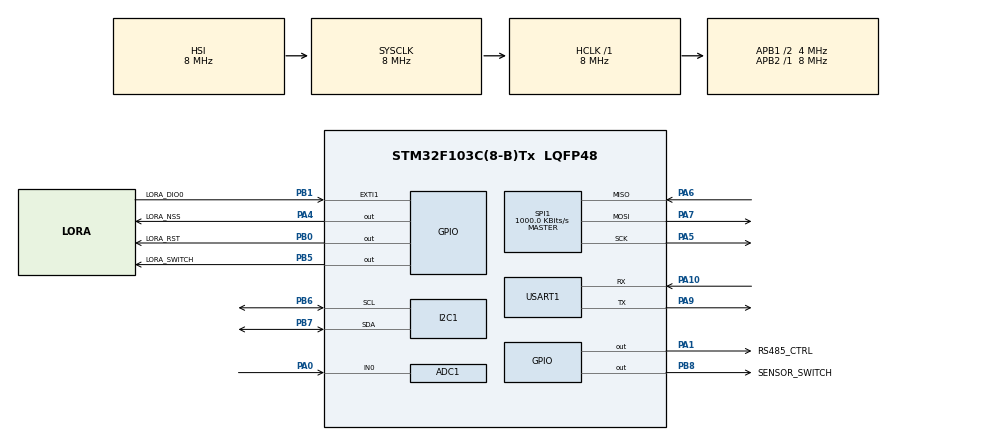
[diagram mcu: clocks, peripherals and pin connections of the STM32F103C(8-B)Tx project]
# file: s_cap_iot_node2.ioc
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ADC1.Channel-0\#ChannelRegularConversion=ADC_CHANNEL_0
ADC1.EnableAnalogWatchDog=false
ADC1.NbrOfConversion=1
ADC1.NbrOfConversionFlag=1
ADC1.Rank-0\#ChannelRegularConversion=1
ADC1.SamplingTime-0\#ChannelRegularConversion=ADC_SAMPLETIME_239CYCLES_5
ADC1.master=1
Mcu.Family=STM32F1
Mcu.Name=STM32F103C(8-B)Tx
Mcu.Package=LQFP48
NVIC.EXTI1_IRQn=true\:0\:0\:false\:false\:true\:true\:true\:true
NVIC.PriorityGroup=NVIC_PRIORITYGROUP_4
NVIC.RTC_Alarm_IRQn=true\:0\:0\:false\:false\:true\:true\:true\:true
PA0-WKUP.Signal=ADCx_IN0
PA1.GPIO_Label=RS485_CTRL
PA1.Signal=GPIO_Output
PA10.Mode=Asynchronous
PA10.Signal=USART1_RX
PA13.Mode=Serial_Wire
PA13.Signal=SYS_JTMS-SWDIO
PA14.Mode=Serial_Wire
PA14.Signal=SYS_JTCK-SWCLK
PA4.GPIO_Label=LORA_NSS
PA4.PinState=GPIO_PIN_SET
PA4.Signal=GPIO_Output
PA5.Mode=Full_Duplex_Master
PA5.Signal=SPI1_SCK
PA6.Mode=Full_Duplex_Master
PA6.Signal=SPI1_MISO
PA7.Mode=Full_Duplex_Master
PA7.Signal=SPI1_MOSI
PA9.Mode=Asynchronous
PA9.Signal=USART1_TX
PB0.GPIO_Label=LORA_RST
PB0.PinState=GPIO_PIN_SET
PB0.Signal=GPIO_Output
PB1.GPIO_Label=LORA_DIO0
PB1.Signal=GPXTI1
PB5.GPIO_Label=LORA_SWITCH
PB5.PinState=GPIO_PIN_SET
PB5.Signal=GPIO_Output
PB6.Mode=I2C
PB6.Signal=I2C1_SCL
PB7.Mode=I2C
PB7.Signal=I2C1_SDA
PB8.GPIO_Label=SENSOR_SWITCH
PB8.PinState=GPIO_PIN_SET
PB8.Signal=GPIO_Output
PD0-OSC_IN.Mode=HSE-External-Oscillator
PD0-OSC_IN.Signal=RCC_OSC_IN
PD1-OSC_OUT.Mode=HSE-External-Oscillator
PD1-OSC_OUT.Signal=RCC_OSC_OUT
ProjectManager.HeapSize=0x200
ProjectManager.StackSize=0x400
ProjectManager.TargetToolchain=STM32CubeIDE
RCC.ADCPresc=RCC_ADCPCLK2_DIV6
RCC.AHBFreq_Value=8000000
RCC.APB1CLKDivider=RCC_HCLK_DIV2
RCC.APB1Freq_Value=4000000
RCC.APB1TimFreq_Value=8000000
RCC.APB2Freq_Value=8000000
RCC.APB2TimFreq_Value=8000000
RCC.HCLKFreq_Value=8000000
RCC.PLLMUL=RCC_PLL_MUL9
RCC.PLLSourceVirtual=RCC_PLLSOURCE_HSE
RCC.SYSCLKFreq_VALUE=8000000
RCC.USBFreq_Value=72000000
RTC.AsynchPrediv=40000
RTC.AutoPrediv=0
SH.ADCx_IN0.0=ADC1_IN0,IN0
SPI1.BaudRatePrescaler=SPI_BAUDRATEPRESCALER_8
SPI1.CalculateBaudRate=1000.0 KBits/s
SPI1.Direction=SPI_DIRECTION_2LINES
SPI1.Mode=SPI_MODE_MASTER
SPI1.VirtualType=VM_MASTER
USART1.VirtualMode=VM_ASYNC
VP_RTC_VS_RTC_Activate.Mode=RTC_Enabled
VP_RTC_VS_RTC_Calendar.Mode=RTC_Calendar
board=custom

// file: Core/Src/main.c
/* USER CODE BEGIN Header */
/**
 ******************************************************************************
 * @file           : main.c
 * @brief          : Main program body
 ******************************************************************************
 * @attention
 *
 * Copyright (c) 2026 STMicroelectronics.
 * All rights reserved.
 *
 * This software is licensed under terms that can be found in the LICENSE file
 * in the root directory of this software component.
 * If no LICENSE file comes with this software, it is provided AS-IS.
 *
 ******************************************************************************
 */
/* USER CODE END Header */
#include "main.h"
#include "adc.h"
#include "i2c.h"
#include "rtc.h"
#include "spi.h"
#include "usart.h"
#include "gpio.h"

/* USER CODE BEGIN Includes */

#include "battery_monitor.h"
#include "lora_config.h"
#include "power_management.h"
//#include "rs485_config.h"
#include "sht30_config.h"
#include "utils.h"
#include <stddef.h>
#include <stdio.h>
#include <string.h>

/* USER CODE END Includes */

/* USER CODE BEGIN PTD */

#define LORA_MAX_PAYLOAD 48
#define SENSOR_TYPE_SOIL 0x01
#define SENSOR_TYPE_ENV 0x02

/* -------------------------------------------------------------------------- */
/*                          General LoRa Packet Format                        */
/* -------------------------------------------------------------------------- */
typedef struct __attribute__((packed)) {
  uint32_t device_id;
  uint8_t sensor_type;
  uint8_t payload_length;
  uint8_t payload[LORA_MAX_PAYLOAD];

} lora_packet_t;

/* -------------------------------------------------------------------------- */
/*                        Soil Sensor Payload Structure                       */
/* -------------------------------------------------------------------------- */
typedef struct __attribute__((packed)) {
  uint16_t humidity;
  int16_t temperature;
  uint16_t ec;
} soil_payload_t;

/* -------------------------------------------------------------------------- */
/* Environment Sensor Payload Structure                    */
/* -------------------------------------------------------------------------- */
typedef struct __attribute__((packed)) {
  uint16_t humidity;
  int16_t temperature;
  uint16_t cap_voltage;
} env_payload_t;
/* USER CODE END PTD */

void SystemClock_Config(void);

int main(void)
{

  /* MCU Configuration--------------------------------------------------------*/

  /* Reset of all peripherals, Initializes the Flash interface and the Systick. */
  HAL_Init();

  /* Configure the system clock */
  SystemClock_Config();

  /* Initialize all configured peripherals */
  MX_GPIO_Init();
  MX_SPI1_Init();
  MX_RTC_Init();
  MX_USART1_UART_Init();
  MX_I2C1_Init();
  MX_ADC1_Init();

  /* USER CODE BEGIN 2 */
  HAL_ADCEx_Calibration_Start(&hadc1);   // ← add this line

  printf("\r\n\r\n=== System Booting ===\r\n");
  led_off();
  /* 1. Check Wake Reason */
  if (__HAL_PWR_GET_FLAG(PWR_FLAG_WU) != RESET) {
    printf("Reason: Woke up from STANDBY (Alarm)\r\n");
    __HAL_PWR_CLEAR_FLAG(PWR_FLAG_WU);
  } else {
    printf("Reason: Cold Boot (Power On)\r\n");
  }

  /* 2. Check the Bank Account (ADC) FIRST */
  float current_voltage = Battery_GetVoltage(&hadc1);
  printf("Capacitor Voltage: %.2f V\r\n", current_voltage);

  /* 3. The Decision Logic */
  if (current_voltage < 3.5f) {
    /* === BRANCH A: STARVING (SNOOZE) === */
    printf("Status: Low Energy. Aborting transmission.\r\n");
    printf("Snoozing for 900 seconds to wait for solar charge...\r\n");

    led_toggle(50, 5);           // Fast warning blink
    Power_DeepSleep(&hrtc, 900); // Short snooze (15 mins)
  } else {
    /* === BRANCH B: HEALTHY (WORK) === */
    printf("Status: Energy Good. Starting Active Cycle.\r\n");

    /* NOW it is safe to turn on peripherals */
    uint16_t lora_status = lora_init();
    printf("Lora Ststus returned value: %d/n", lora_status);
    SHT30_Init();

    if (lora_status == LORA_OK) {
      printf("LoRa Boot Done!\r\n");
      SHT30_SensorReading_t currentReading;
      if (SHT30_ReadSensor(&currentReading) == HAL_OK) {
        lora_packet_t tx_packet = {0};
        tx_packet.device_id = Get_STM32_UniqueID();
        tx_packet.sensor_type = SENSOR_TYPE_ENV;
        env_payload_t sensor_data;
        sensor_data.temperature = currentReading.temperature;
        sensor_data.humidity = currentReading.humidity;
        sensor_data.cap_voltage = (uint16_t)(current_voltage * 100.0f);

        tx_packet.payload_length = sizeof(env_payload_t);
        memcpy(tx_packet.payload, &sensor_data, tx_packet.payload_length);

        /* -------------------------------------------------------------- */
        /* Calculate Actual Transmission Size               */
        /* -------------------------------------------------------------- */
        uint8_t tx_size =
            offsetof(lora_packet_t, payload) + tx_packet.payload_length;

        /* -------------------------------------------------------------- */
        /* Send via LoRa                            */
        /* -------------------------------------------------------------- */
        uint8_t lora_status = lora_send((uint8_t *)&tx_packet, tx_size, 1000);
        //            			uint8_t tx_status = lora_send((uint8_t
        //            *)&tx_packet, tx_size, 1000);
        lora_sleep();                                   // SX1278 → SLEEP (0.2µA)
        switch_operation(TARGET_LORA, SWITCH_OFF);      // Cut LoRa power rail

        switch_operation(TARGET_SENSOR, SWITCH_OFF);
        /* -------------------------------------------------------------- */
        /* Transmission Indication                     */
        /* -------------------------------------------------------------- */
        if (lora_status == 1) {
          printf("\r\n========== LoRa Packet Sent ==========\r\n");
          printf("Device ID     : %lu\r\n", tx_packet.device_id);
          printf("Sensor Type   : %u\r\n", tx_packet.sensor_type);
          printf("Payload Length: %u\r\n", tx_packet.payload_length);

          printf("\r\n--- Sensor Data ---\r\n");
          // Divide by 100 for display formatting
          printf("Temperature : %.2f C\r\n",
                 (float)sensor_data.temperature / 100.0f);
          printf("Humidity    : %.2f %%\r\n",
                 (float)sensor_data.humidity / 100.0f);
          printf("Cap Voltage : %.2f V\r\n",
                 (float)sensor_data.cap_voltage / 100.0f);
          printf("\r\n======================================\r\n\r\n");

          led_off();
          led_toggle(50, 2);
        } else {
          printf("The lora return value is: %d\n", lora_status);
          printf("\r\n[ERROR] LoRa TX Timeout! (TxDone was never set by the "
                 "module)\r\n\r\n");
        }
      } else {
        /* Sensor Read Failed */
        printf("Sensor Read Failed");
        //                        led_on();
      }

      printf("Transmission complete.\r\n");
    } else {
      printf("LoRa Boot Failed!\r\n");
    }

    printf("Active cycle finished. Deep sleeping for 30 seconds...\r\n");
    Power_DeepSleep(&hrtc,
                    3600); // Long sleep until next scheduled reading (30 mins)
  }

  /* USER CODE END 2 */

  /* Infinite loop */
  /* USER CODE BEGIN WHILE */
  while (1) {
    /* 1. Turn the power ON */
    //          printf("Power switches ON...\r\n");
    //          switch_operation(TARGET_LORA, SWITCH_ON);
    //          switch_operation(TARGET_SENSOR, SWITCH_ON);
    //
    //          // Wait for 3 seconds (3000 milliseconds)
    //          HAL_Delay(3000);
    //
    //          /* 2. Turn the power OFF */
    //          printf("Power switches OFF...\r\n");
    //          switch_operation(TARGET_LORA, SWITCH_OFF);
    //          switch_operation(TARGET_SENSOR, SWITCH_OFF);
    //
    //          // Wait for 3 seconds
    //          HAL_Delay(3000);

    /* USER CODE END WHILE */

  }
}

void SystemClock_Config(void)
{
  RCC_OscInitTypeDef RCC_OscInitStruct = {0};
  RCC_ClkInitTypeDef RCC_ClkInitStruct = {0};
  RCC_PeriphCLKInitTypeDef PeriphClkInit = {0};

  /** Initializes the RCC Oscillators according to the specified parameters
  * in the RCC_OscInitTypeDef structure.
  */
  RCC_OscInitStruct.OscillatorType = RCC_OSCILLATORTYPE_HSI|RCC_OSCILLATORTYPE_LSI;
  RCC_OscInitStruct.HSIState = RCC_HSI_ON;
  RCC_OscInitStruct.HSICalibrationValue = RCC_HSICALIBRATION_DEFAULT;
  RCC_OscInitStruct.LSIState = RCC_LSI_ON;
  RCC_OscInitStruct.PLL.PLLState = RCC_PLL_NONE;
  if (HAL_RCC_OscConfig(&RCC_OscInitStruct) != HAL_OK)
  {
    Error_Handler();
  }

  /** Initializes the CPU, AHB and APB buses clocks
  */
  RCC_ClkInitStruct.ClockType = RCC_CLOCKTYPE_HCLK|RCC_CLOCKTYPE_SYSCLK
                              |RCC_CLOCKTYPE_PCLK1|RCC_CLOCKTYPE_PCLK2;
  RCC_ClkInitStruct.SYSCLKSource = RCC_SYSCLKSOURCE_HSI;
  RCC_ClkInitStruct.AHBCLKDivider = RCC_SYSCLK_DIV1;
  RCC_ClkInitStruct.APB1CLKDivider = RCC_HCLK_DIV2;
  RCC_ClkInitStruct.APB2CLKDivider = RCC_HCLK_DIV1;

  if (HAL_RCC_ClockConfig(&RCC_ClkInitStruct, FLASH_LATENCY_0) != HAL_OK)
  {
    Error_Handler();
  }
  PeriphClkInit.PeriphClockSelection = RCC_PERIPHCLK_RTC|RCC_PERIPHCLK_ADC;
  PeriphClkInit.RTCClockSelection = RCC_RTCCLKSOURCE_LSI;
  PeriphClkInit.AdcClockSelection = RCC_ADCPCLK2_DIV6;
  if (HAL_RCCEx_PeriphCLKConfig(&PeriphClkInit) != HAL_OK)
  {
    Error_Handler();
  }
}

void Error_Handler(void)
{
  __disable_irq();
  while (1) {
  }
}
#ifdef USE_FULL_ASSERT
/**
  * @brief  Reports the name of the source file and the source line number
  *         where the assert_param error has occurred.
  * @param  file: pointer to the source file name
  * @param  line: assert_param error line source number
  * @retval None
  */
void assert_failed(uint8_t *file, uint32_t line)
{
  /* USER CODE BEGIN 6 */

  /* Example:
     printf("Wrong parameters value: file %s on line %d\r\n", file, line);
  */

  /* USER CODE END 6 */
}
#endif /* USE_FULL_ASSERT */
